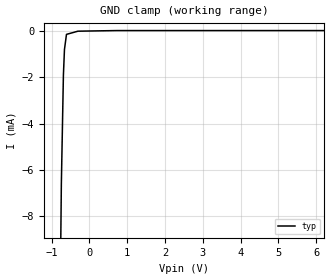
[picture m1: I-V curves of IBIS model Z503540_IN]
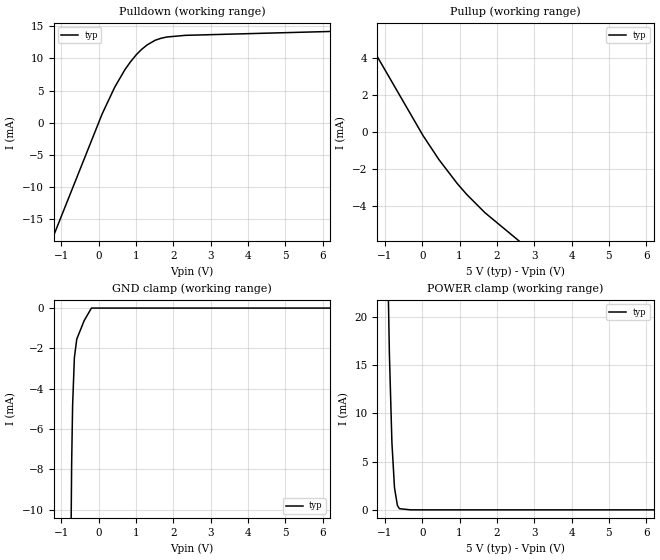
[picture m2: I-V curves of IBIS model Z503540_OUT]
| YOU ARE ONLY AUTHORIZED TO USE THIS SOFTWARE
| ACCORDING TO LICENSOR'S LICENSE RESTRICTIONS.
[IBIS Ver] 3.1
[File Name] mc14050bcp.ibs
[File Rev] 2.0
[Source] Measured and created by ICX Technology
[Date] Friday 7/14/00 9:07:52 AM
[Copyright]
| (C) COPYRIGHT 1993-2000
| MENTOR GRAPHICS CORPORATION
| ICX STANDARD LIBRARY, ICX PROJECT MODELING,
| ICX CUSTOM MODELING, ICX VENDOR MODEL
| ALL RIGHTS RESERVED.
| THE FOLLOWING ARE TRADEMARKS OR SERVICE MARKS OF
| MENTOR GRAPHICS CORPORATION:ICX (R), ICX STANDARD
| LIBRARY(R), ICX PROJECT MODELING(R), ICX CUSTOM
| MODELING(R), qualityIBIS(TM), MODELVIEWER(TM),
| AND MODELEDITOR(TM)
| ALL COPIES OF SOFTWARE, INCLUDING BUT NOT LIMITED TO
| ANY MODIFICATIONS, ENHANCEMENTS OR DERIVATIVE WORKS,
| MUST CONTAIN ALL MENTOR GRAPHICS CORPORATION'S
| NOTICES AND LEGENDS, INCLUDING THOSE EMBEDDED IN
| SOFTWARE AND THOSE AFFIXED TO SOFTWARE MEDIUM
| AND CONTAINER, AS RECEIVED FROM MENTOR GRAPHICS
| CORPORATION.
|  ZAP Model Builder 2.7
[Component] MC14050BCP
[Manufacturer] OnSemiconductor
[Package]
| variable   typ   min   max
R_pkg  .212ohms NA NA
L_pkg  4.758nH NA NA
C_pkg  1.143pF NA NA
[Pin] signal_name  model_name  R_pin  L_pin C_pin
1 VDD POWER .224 7.258n 1.578p
2 OUT Z503540_OUT .216 5.258n 1.288p
3 IN Z503540_IN .208 3.758n .998p
4 OUT Z503540_OUT .2 2.758n .708p
5 IN Z503540_IN .2 2.758n .708p
6 OUT Z503540_OUT .208 3.758n .998p
7 IN Z503540_IN .216 5.258n 1.288p
8 VSS GND .224 7.258n 1.578p
9 IN Z503540_IN .224 7.258n 1.578p
10 OUT Z503540_OUT .216 5.258n 1.288p
11 IN Z503540_IN .208 3.758n .998p
12 OUT Z503540_OUT .2 2.758n .708p
13 NC NC .2 2.758n .708p
14 IN Z503540_IN .208 3.758n .998p
15 OUT Z503540_OUT .216 5.258n 1.288p
16 NC NC .224 7.258n 1.578p
| Models and submodels in the file (2): Z503540_IN (Input), Z503540_OUT (Output)
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| (C) COPYRIGHT 1993-2000
| MENTOR GRAPHICS CORPORATION
| ICX STANDARD LIBRARY, ICX PROJECT MODELING,
| ICX CUSTOM MODELING, ICX VENDOR MODEL
| ALL RIGHTS RESERVED.
| THE FOLLOWING ARE TRADEMARKS OR SERVICE MARKS OF
| MENTOR GRAPHICS CORPORATION:ICX (R), ICX STANDARD
| LIBRARY(R), ICX PROJECT MODELING(R), ICX CUSTOM
| MODELING(R), qualityIBIS(TM), MODELVIEWER(TM),
| AND MODELEDITOR(TM)
| ALL COPIES OF SOFTWARE, INCLUDING BUT NOT LIMITED TO
| ANY MODIFICATIONS, ENHANCEMENTS OR DERIVATIVE WORKS,
| MUST CONTAIN ALL MENTOR GRAPHICS CORPORATION'S
| NOTICES AND LEGENDS, INCLUDING THOSE EMBEDDED IN
| SOFTWARE AND THOSE AFFIXED TO SOFTWARE MEDIUM
| AND CONTAINER, AS RECEIVED FROM MENTOR GRAPHICS
| CORPORATION.
| Model Application Version 1.89 2/18/99.
[Model] Z503540_IN
Model_type Input
Vinl = 1.500V
Vinh = 3.500V
C_comp 4.000pF NA NA
| variable typ   min   max
[Voltage Range] 5.000V NA NA
[GND Clamp Reference] 0.000V NA NA
[POWER Clamp Reference] 5.000V NA NA
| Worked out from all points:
|   GND clamp passes 1 mA (typ) near -0.66 V on its own axis
[GND Clamp]
-5V       -695.2mA   NA         NA
-741.9mV  -6.626mA   NA         NA
-687.4mV  -1.913mA   NA         NA
-659.1mV  -799.5uA   NA         NA
-605.9mV  -149.7uA   NA         NA
-302.9mV  -12.04uA   NA         NA
724.8mV   14.66uA    NA         NA
10V       14.66uA    NA         NA
[POWER Clamp]
-5V       0A         NA         NA
10V       0A         NA         NA
| (C) COPYRIGHT 1993-2000
| MENTOR GRAPHICS CORPORATION
| ICX STANDARD LIBRARY, ICX PROJECT MODELING,
| ICX CUSTOM MODELING, ICX VENDOR MODEL
| ALL RIGHTS RESERVED.
| THE FOLLOWING ARE TRADEMARKS OR SERVICE MARKS OF
| MENTOR GRAPHICS CORPORATION:ICX (R), ICX STANDARD
| LIBRARY(R), ICX PROJECT MODELING(R), ICX CUSTOM
| MODELING(R), qualityIBIS(TM), MODELVIEWER(TM),
| AND MODELEDITOR(TM)
| ALL COPIES OF SOFTWARE, INCLUDING BUT NOT LIMITED TO
| ANY MODIFICATIONS, ENHANCEMENTS OR DERIVATIVE WORKS,
| MUST CONTAIN ALL MENTOR GRAPHICS CORPORATION'S
| NOTICES AND LEGENDS, INCLUDING THOSE EMBEDDED IN
| SOFTWARE AND THOSE AFFIXED TO SOFTWARE MEDIUM
| AND CONTAINER, AS RECEIVED FROM MENTOR GRAPHICS
| CORPORATION.
| Model Application Version 1.89 2/18/99.
[Model] Z503540_OUT
Model_type Output
Vref=0.000V
Rref=500.0Mohms
Cref=50.00pF
Vmeas=2.500V
C_comp 8.000pF NA NA
| variable typ   min   max
[Voltage Range] 5.000V NA NA
[POWER Clamp Reference] 5.000V NA NA
[Pullup Reference] 5.000V NA NA
[Pulldown Reference] 0.000V NA NA
[GND Clamp Reference] 0.000V NA NA
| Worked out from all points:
|   slope of the pulldown table from 0 to 0.75 V, typ, clamps not added: 87 ohm
|   slope of the pullup table from 0 to 0.75 V, typ, clamps not added: 346 ohm
|   GND clamp passes 1 mA (typ) near -0.47 V on its own axis
|   POWER clamp passes 1 mA (typ) near -0.69 V on its own axis
[GND Clamp]
-5V       -943mA     NA         NA
-722.7mV  -7.702mA   NA         NA
-696.7mV  -4.821mA   NA         NA
-649.4mV  -2.46mA    NA         NA
-585.6mV  -1.538mA   NA         NA
-385.7mV  -616.5uA   NA         NA
-192.8mV  0A         NA         NA
10V       0A         NA         NA
[Pulldown]
-5V       -72.78mA   NA         NA
93.12mV   1.369mA    NA         NA
430.1mV   5.528mA    NA         NA
703.6mV   8.257mA    NA         NA
849.5mV   9.451mA    NA         NA
1.151V    11.41mA    NA         NA
1.304V    12.12mA    NA         NA
1.515V    12.83mA    NA         NA
1.826V    13.33mA    NA         NA
2.325V    13.59mA    NA         NA
10V       14.78mA    NA         NA
[Pullup]
-5V       17.28mA    NA         NA
24mV      -195uA     NA         NA
449mV     -1.487mA   NA         NA
937mV     -2.773mA   NA         NA
1.191V    -3.362mA   NA         NA
1.679V    -4.348mA   NA         NA
10V       -18.23mA   NA         NA
[POWER Clamp]
-5V       889.5mA    NA         NA
-878mV    16.1mA     NA         NA
-811mV    6.976mA    NA         NA
-742mV    2.295mA    NA         NA
-664mV    461.3uA    NA         NA
-610mV    121.1uA    NA         NA
-305mV    0A         NA         NA
10V       0A         NA         NA
[Ramp]
| variable typ min max
dV/dt_r 2.665/15.56n NA NA
dV/dt_f 2.665/10.63n NA NA
R_load = 2.500kOhms
